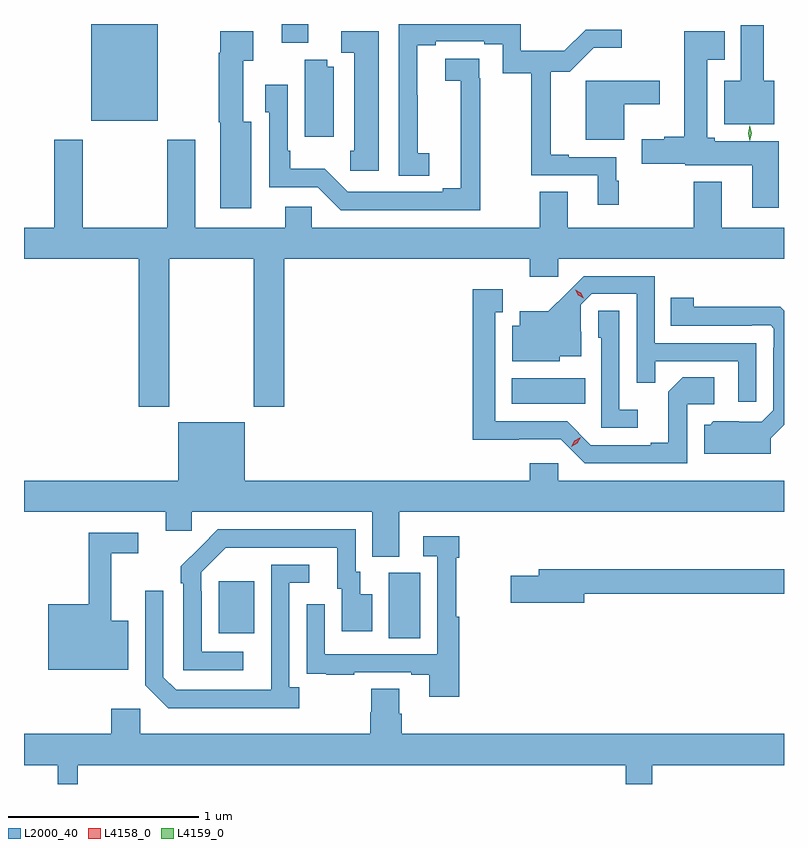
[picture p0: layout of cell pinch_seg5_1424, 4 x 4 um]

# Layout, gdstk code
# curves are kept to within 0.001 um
import gdstk
lib = gdstk.Library(unit=1e-6, precision=1e-09)
def R(c, l, rs):  # rectangles x0, y0, x1, y1
    for r in rs: c.add(gdstk.rectangle(r[:2], r[2:], *l))
def P(c, l, *ps):  # polygons
    for p in ps: c.add(gdstk.Polygon(p, *l))
L2000_40 = (2000, 40)
L4158_0 = (4158, 0)
L4159_0 = (4159, 0)

pinch_seg5_1424 = lib.new_cell('pinch_seg5_1424')
R(pinch_seg5_1424, L2000_40, [(114.08,890.728,114.244,891.072), (113.183,890.753,113.371,891.028), (114.725,891.962,115.112,892.096), (112.514,893.45,112.864,893.96), (113.516,893.862,113.656,893.96), (114.863,893.958,115.015,893.96)])
P(pinch_seg5_1424, L2000_40, [(115.288,893.135),(115.276,893.135),(115.276,893.259),(115.027,893.259),(115.027,893.272),(114.932,893.272),(114.932,893.709),(115.031,893.709),(115.157,893.834),(115.306,893.834),(115.306,893.931),(115.116,893.931),(115.003,893.818),(114.774,893.818),(114.774,893.96),(114.132,893.96),(114.132,893.161),(114.292,893.161),(114.292,893.281),(114.231,893.281),(114.231,893.585),(114.229,893.585),(114.229,893.848),(114.325,893.848),(114.325,893.868),(114.581,893.868),(114.581,893.854),(114.678,893.854),(114.678,893.701),(114.829,893.701),(114.829,893.163),(115.178,893.163),(115.178,893.01),(115.288,893.01)],
  [(116.107,893.662),(116.053,893.662),(116.053,893.953),(115.931,893.953),(115.931,893.662),(115.844,893.662),(115.844,893.432),(116.107,893.432)],
  [(116.131,893.344),(115.794,893.344),(115.794,893.361),(115.756,893.361),(115.756,893.771),(115.846,893.771),(115.846,893.923),(115.634,893.923),(115.634,893.366),(115.53,893.366),(115.53,893.353),(115.41,893.353),(115.41,893.224),(115.638,893.224),(115.638,893.216),(115.991,893.216),(115.991,892.992),(116.131,892.992)],
  [(113.356,893.446),(113.314,893.446),(113.314,893.767),(113.365,893.767),(113.365,893.923),(113.192,893.923),(113.192,893.81),(113.185,893.81),(113.185,893.442),(113.192,893.442),(113.192,892.989),(113.356,892.989)],
  [(114.025,893.923),(113.829,893.923),(113.829,893.808),(113.897,893.808),(113.897,893.292),(113.875,893.292),(113.875,893.187),(114.025,893.187)],
  [(114.56,893.675),(114.554,893.675),(114.554,893.777),(114.375,893.777),(114.375,893.662),(114.457,893.662),(114.458,893.096),(114.362,893.096),(114.362,893.076),(113.862,893.076),(113.741,893.197),(113.56,893.197),(113.56,893.293),(113.547,893.293),(113.547,893.641),(113.43,893.641),(113.43,893.496),(113.451,893.496),(113.451,893.1),(113.706,893.1),(113.826,892.98),(114.56,892.98)],
  [(113.788,893.734),(113.756,893.734),(113.756,893.771),(113.636,893.771),(113.636,893.367),(113.788,893.367)],
  [(115.318,893.537),(115.504,893.537),(115.504,893.661),(115.115,893.661),(115.115,893.351),(115.318,893.351)],
  [(112.923,892.724),(113.368,892.724),(113.368,891.945),(113.528,891.945),(113.528,892.724),(114.821,892.724),(114.821,892.629),(114.972,892.629),(114.972,892.724),(116.159,892.724),(116.159,892.888),(115.831,892.888),(115.831,893.131),(115.684,893.131),(115.684,892.888),(115.021,892.888),(115.021,893.078),(114.874,893.078),(114.874,892.888),(113.673,892.888),(113.673,892.998),(113.534,892.998),(113.534,892.888),(113.059,892.888),(113.059,893.35),(112.912,893.35),(112.912,892.888),(112.467,892.888),(112.467,893.35),(112.319,893.35),(112.319,892.888),(112.159,892.888),(112.159,892.724),(112.763,892.724),(112.763,891.945),(112.923,891.945)],
  [(116.013,892.281),(115.479,892.281),(115.479,892.632),(115.106,892.632),(114.919,892.447),(114.767,892.447),(114.767,892.371),(114.728,892.371),(114.728,892.184),(114.978,892.184),(114.978,892.211),(115.093,892.211),(115.093,892.34),(115.089,892.34),(115.089,892.482),(115.146,892.539),(115.383,892.539),(115.383,892.072),(115.481,892.072),(115.481,892.185),(115.917,892.185),(115.917,891.972),(116.013,891.972)],
  [(115.65,891.96),(115.792,891.96),(115.792,892.1),(115.627,892.1),(115.551,892.024),(115.551,891.757),(115.457,891.757),(115.457,891.744),(115.143,891.744),(115.017,891.87),(114.64,891.87),(114.64,892.443),(114.679,892.443),(114.679,892.564),(114.522,892.564),(114.522,891.773),(114.984,891.774),(115.11,891.648),(115.65,891.648)],
  [(116.089,891.78),(116.159,891.85),(116.159,892.452),(116.14,892.471),(115.683,892.472),(115.683,892.519),(115.564,892.519),(115.564,892.371),(115.988,892.371),(115.988,892.374),(116.088,892.374),(116.106,892.356),(116.106,892.256),(116.103,892.256),(116.103,891.927),(116.043,891.867),(115.786,891.868),(115.77,891.852),(115.739,891.852),(115.739,891.698),(116.089,891.698)],
  [(115.39,891.931),(115.293,891.931),(115.293,892.451),(115.182,892.451),(115.182,892.308),(115.197,892.308),(115.197,891.834),(115.39,891.834)],
  [(114.133,891.392),(116.159,891.392),(116.159,891.556),(114.972,891.556),(114.972,891.649),(114.821,891.649),(114.821,891.556),(113.32,891.556),(113.32,891.865),(112.97,891.865),(112.97,891.556),(112.159,891.556),(112.159,891.392),(112.904,891.392),(112.904,891.294),(113.043,891.294),(113.043,891.392),(113.993,891.392),(113.993,891.157),(114.133,891.157)],
  [(113.314,890.655),(113.094,890.655),(113.094,890.975),(113.091,890.975),(113.091,891.075),(113.22,891.204),(113.807,891.204),(113.807,890.988),(113.831,890.988),(113.831,890.763),(113.992,890.763),(113.992,890.959),(113.929,890.959),(113.929,891.078),(113.904,891.078),(113.904,891.3),(113.18,891.3),(112.983,891.105),(112.983,891.017),(112.998,891.017),(112.998,890.559),(113.314,890.559)],
  [(112.708,890.818),(112.619,890.818),(112.619,891.174),(112.759,891.174),(112.759,891.282),(112.501,891.282),(112.501,890.905),(112.286,890.905),(112.286,890.561),(112.708,890.561)],
  [(114.449,890.841),(114.434,890.841),(114.434,891.152),(114.449,891.152),(114.449,891.265),(114.261,891.265),(114.261,891.159),(114.333,891.159),(114.333,890.643),(113.742,890.643),(113.742,890.905),(113.646,890.905),(113.646,890.65),(113.647,890.65),(113.647,890.541),(113.749,890.541),(113.749,890.535),(113.897,890.535),(113.897,890.547),(114.197,890.547),(114.197,890.535),(114.293,890.535),(114.293,890.418),(114.449,890.418)],
  [(113.608,890.47),(113.556,890.47),(113.556,891.018),(113.659,891.018),(113.659,891.114),(113.46,891.114),(113.459,890.457),(112.959,890.457),(112.893,890.523),(112.893,890.977),(112.797,890.977),(112.797,890.481),(112.918,890.36),(113.608,890.36)],
  [(115.108,890.962),(116.159,890.962),(116.159,891.091),(114.869,891.091),(114.869,891.057),(114.72,891.057),(114.72,890.915),(115.108,890.915)],
  [(112.441,890.06),(115.325,890.06),(115.325,889.96),(115.465,889.96),(115.465,890.06),(116.159,890.06),(116.159,890.224),(114.146,890.224),(114.146,890.33),(114.133,890.33),(114.133,890.462),(113.986,890.462),(113.986,890.337),(113.981,890.337),(113.981,890.224),(112.77,890.224),(112.77,890.356),(112.619,890.356),(112.619,890.224),(112.159,890.224),(112.159,890.06),(112.337,890.06),(112.337,889.96),(112.441,889.96)])
P(pinch_seg5_1424, L4158_0, [(115.106,892.516),(115.076,892.532),(115.059,892.561),(115.059,892.561),(115.059,892.561),(115.089,892.546),(115.106,892.517),(115.106,892.516)],
  [(115.038,891.734),(115.038,891.735),(115.056,891.767),(115.088,891.785),(115.088,891.785),(115.088,891.785),(115.07,891.753),(115.039,891.734)])
P(pinch_seg5_1424, L4159_0, [(115.979,893.346),(115.979,893.346),(115.97,893.386),(115.979,893.427),(115.979,893.427),(115.98,893.427),(115.99,893.386),(115.98,893.346)])

lib.write_gds('pinch_seg5_1424.gds')
